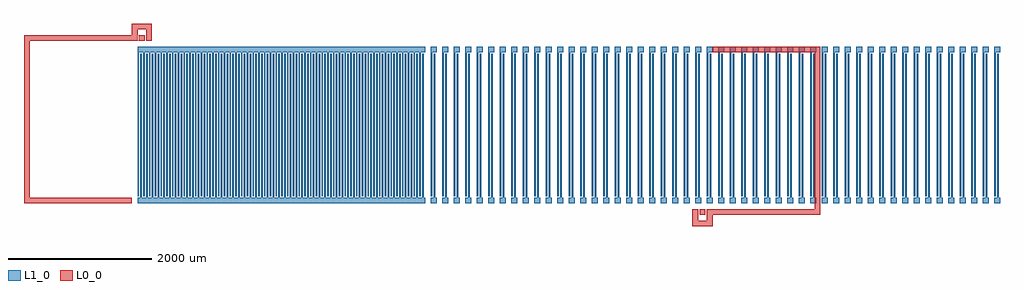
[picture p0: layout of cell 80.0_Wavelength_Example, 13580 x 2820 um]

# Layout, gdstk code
import gdstk
lib = gdstk.Library(unit=1e-6, precision=1e-09)
def R(c, l, rs):  # rectangles x0, y0, x1, y1
    for r in rs: c.add(gdstk.rectangle(r[:2], r[2:], *l))
def A(c, l, x, y, w, h, nx, ny, dx, dy):  # array of equal rectangles
    R(c, l, [(x+i*dx, y+j*dy, x+i*dx+w, y+j*dy+h) for i in range(nx) for j in range(ny)])
L0_0 = (0, 0)
L1_0 = (1, 0)

c_80_0_wavelength_example = lib.new_cell('80.0_Wavelength_Example')
R(c_80_0_wavelength_example, L0_0, [(7800,-320,8080,-240), (7800,-240,7880,-80), (8000,-240,8080,-80), (7900,-160,7980,-80), (8080,-160,9580,-80), (9500,-80,9580,2100), (-1500,0,0,80), (-1500,80,-1420,2260), (8080,2100,9580,2180), (-1500,2260,0,2340), (0,2260,80,2420), (100,2260,180,2340), (200,2260,280,2420), (0,2420,280,2500)])
A(c_80_0_wavelength_example, L1_0, 80, 0, 80, 80, 50, 2, 80, 2100)
A(c_80_0_wavelength_example, L1_0, 4160, 0, 80, 80, 50, 2, 160, 2100)
A(c_80_0_wavelength_example, L1_0, 120, 80, 20, 2000, 50, 1, 80, 0)
A(c_80_0_wavelength_example, L1_0, 4200, 80, 20, 2000, 50, 1, 160, 0)
A(c_80_0_wavelength_example, L1_0, 80, 100, 20, 2000, 50, 1, 80, 0)
A(c_80_0_wavelength_example, L1_0, 4160, 100, 20, 2000, 50, 1, 160, 0)

lib.write_gds('80.0_Wavelength_Example.gds')
